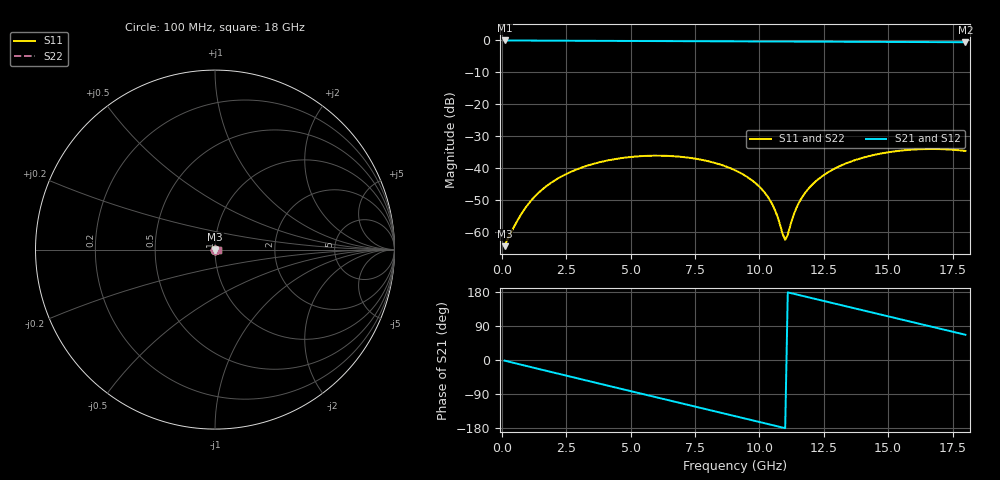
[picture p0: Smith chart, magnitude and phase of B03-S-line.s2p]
! yapnr rf coupon B: B03 S L6.5 (line, family S)
! stackup JLC06161H-7628, nominal parameters; reference planes 10 mm from each end; 50 ohm (renormalized from the line's Zc)
! model: 2D quasi-static RLGC (Djordjevic-Sarkar, Huray roughness, Wheeler loss); generated by python -m yapnr.rf.coupons expected
# GHz S DB R 50
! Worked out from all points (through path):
!   180 points, 100 MHz to 18 GHz, reference 50 ohm
!   highest |S21| = -0.01 dB at 100 MHz (marker M1); lowest = -0.6 dB at 18 GHz (marker M2)
!   group delay of S21, straight-line fit = 45.2 ps
!   lowest |S11| = -64.5 dB at 100 MHz (marker M3), VSWR 1.00, Z = 50.1 + j0.0303 ohm
!   |S11| at or under -10 dB: start of sweep to end of sweep
!   |S22| runs from -64.5 to -34.0 dB; largest |S21 - S12| = 0
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0.1  -64.49 30.5  -0.01 -1.7  -0.01 -1.7  -64.49 30.5
0.7  -55.06 69.4  -0.03 -11.7  -0.03 -11.7  -55.06 69.4
1.3  -48.70 73.8  -0.06 -21.6  -0.06 -21.6  -48.70 73.8
2.1  -43.60 66.5  -0.08 -34.8  -0.08 -34.8  -43.60 66.5
3.1  -39.83 52.7  -0.12 -51.2  -0.12 -51.2  -39.83 52.7
4.6  -36.93 29.8  -0.16 -75.7  -0.16 -75.7  -36.93 29.8
6.1  -36.12 6.2  -0.21 -100.2  -0.21 -100.2  -36.12 6.2
7.5  -37.05 -15.6  -0.25 -123.0  -0.25 -123.0  -37.05 -15.6
9.1  -40.87 -39.4  -0.30 -149.0  -0.30 -149.0  -40.87 -39.4
9.8  -44.41 -48.2  -0.32 -160.4  -0.32 -160.4  -44.41 -48.2
10.3  -48.74 -51.5  -0.34 -168.5  -0.34 -168.5  -48.74 -51.5
10.6  -53.12 -48.2  -0.34 -173.4  -0.34 -173.4  -53.12 -48.2
11  -62.50 13.7  -0.36 -179.9  -0.36 -179.9  -62.50 13.7
11.1  -60.93 47.4  -0.36 178.5  -0.36 178.5  -60.93 47.4
11.3  -55.34 74.8  -0.36 175.2  -0.36 175.2  -55.34 74.8
11.5  -51.40 81.4  -0.37 172.0  -0.37 172.0  -51.40 81.4
12.1  -44.81 80.6  -0.39 162.2  -0.39 162.2  -44.81 80.6
12.6  -41.66 74.9  -0.40 154.1  -0.40 154.1  -41.66 74.9
13.3  -38.75 65.3  -0.42 142.8  -0.42 142.8  -38.75 65.3
15.1  -34.94 38.4  -0.47 113.6  -0.47 113.6  -34.94 38.4
16.5  -34.04 16.9  -0.52 90.9  -0.52 90.9  -34.04 16.9
18  -34.64 -5.8  -0.56 66.7  -0.56 66.7  -34.64 -5.8
